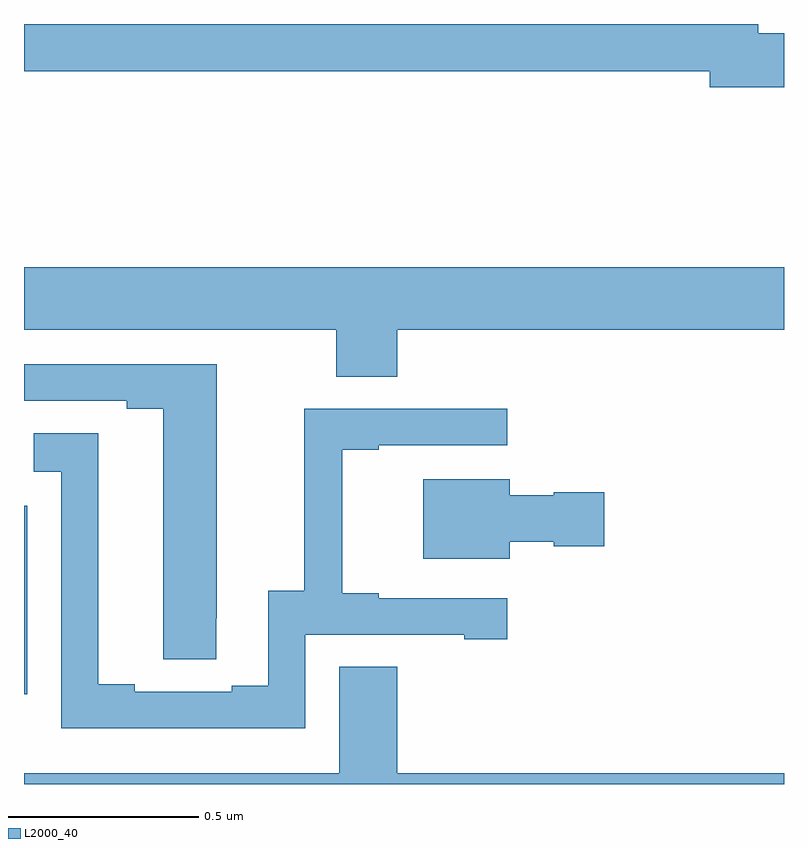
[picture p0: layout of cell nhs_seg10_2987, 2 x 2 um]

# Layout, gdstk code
import gdstk
lib = gdstk.Library(unit=1e-6, precision=1e-09)
def R(c, l, rs):  # rectangles x0, y0, x1, y1
    for r in rs: c.add(gdstk.rectangle(r[:2], r[2:], *l))
def P(c, l, *ps):  # polygons
    for p in ps: c.add(gdstk.Polygon(p, *l))
L2000_40 = (2000, 40)

nhs_seg10_2987 = lib.new_cell('nhs_seg10_2987')
R(nhs_seg10_2987, L2000_40, [(148,1252.736,148.008,1253.232)])
P(nhs_seg10_2987, L2000_40, [(150,1254.476),(149.932,1254.476),(149.932,1254.5),(148,1254.5),(148,1254.376),(149.804,1254.376),(149.804,1254.334),(150,1254.334)],
  [(148.982,1253.696),(150,1253.696),(150,1253.86),(148,1253.86),(148,1253.696),(148.822,1253.696),(148.822,1253.572),(148.982,1253.572)],
  [(148.506,1252.936),(148.507,1252.936),(148.507,1253.604),(148,1253.604),(148,1253.508),(148.271,1253.508),(148.271,1253.488),(148.367,1253.488),(148.367,1252.828),(148.506,1252.828)],
  [(148.74,1252.893),(149.159,1252.893),(149.159,1252.881),(149.272,1252.881),(149.272,1252.989),(148.933,1252.989),(148.933,1253.002),(148.838,1253.002),(148.838,1253.379),(148.933,1253.379),(148.933,1253.391),(149.272,1253.391),(149.272,1253.487),(148.738,1253.487),(148.738,1253.009),(148.643,1253.009),(148.643,1252.758),(148.547,1252.758),(148.547,1252.743),(148.291,1252.743),(148.291,1252.763),(148.195,1252.763),(148.195,1253.423),(148.026,1253.423),(148.026,1253.322),(148.098,1253.322),(148.098,1252.647),(148.74,1252.647)],
  [(149.278,1253.138),(149.394,1253.138),(149.394,1253.126),(149.527,1253.126),(149.527,1253.268),(149.394,1253.268),(149.394,1253.26),(149.278,1253.26),(149.278,1253.302),(149.051,1253.302),(149.051,1253.093),(149.278,1253.093)],
  [(150,1252.528),(148.982,1252.528),(148.982,1252.808),(148.829,1252.808),(148.829,1252.528),(148,1252.528),(148,1252.5),(150,1252.5)])

lib.write_gds('nhs_seg10_2987.gds')
